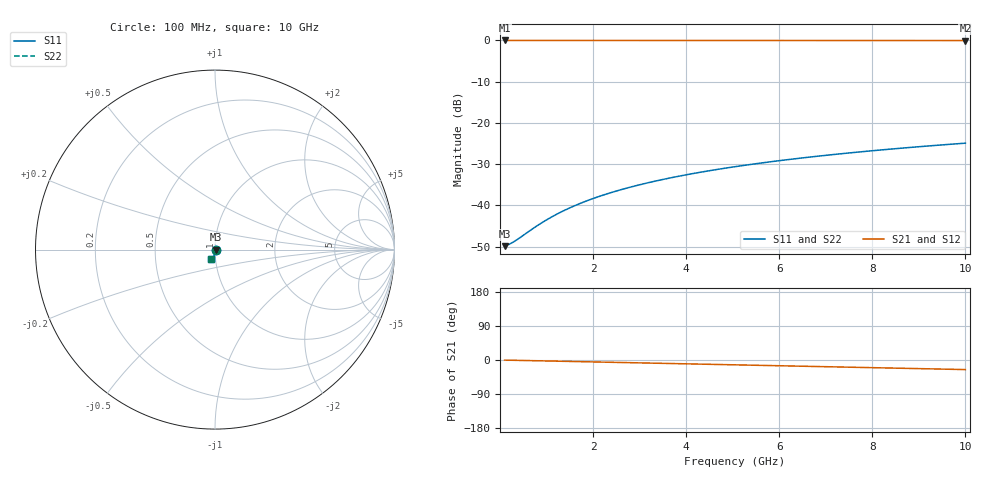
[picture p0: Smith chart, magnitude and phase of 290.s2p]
# Hz S RI R 50.00
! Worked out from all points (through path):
!   100 points, 100 MHz to 10 GHz, reference 50 ohm
!   highest |S21| = -0.03 dB at 100 MHz (marker M1); lowest = 0.0 dB at 10 GHz (marker M2)
!   group delay of S21, straight-line fit = 7.02 ps
!   lowest |S11| = -49.9 dB at 100 MHz (marker M3), VSWR 1.01, Z = 50.3 - j0.06 ohm
!   |S11| at or under -10 dB: start of sweep to end of sweep
!   |S22| runs from -49.9 to -24.9 dB; largest |S21 - S12| = 0
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1e8  0.00314 -0.000596  0.9968 -0.00439  0.9968 -0.00439  0.00314 -0.000596
2e8  0.00315 -0.00119  0.9968 -0.00879  0.9968 -0.00879  0.00315 -0.00119
3e8  0.00315 -0.00179  0.9967 -0.0132  0.9967 -0.0132  0.00315 -0.00179
8e8  0.00305 -0.00477  0.9961 -0.0351  0.9961 -0.0351  0.00305 -0.00477
9e8  0.00301 -0.00537  0.9959 -0.0395  0.9959 -0.0395  0.00301 -0.00537
1.1e9  0.00291 -0.00656  0.9955 -0.0483  0.9955 -0.0483  0.00291 -0.00656
1.4e9  0.00273 -0.00834  0.9948 -0.0615  0.9948 -0.0615  0.00273 -0.00834
1.6e9  0.00258 -0.00952  0.9942 -0.0702  0.9942 -0.0702  0.00258 -0.00952
1.8e9  0.00241 -0.0107  0.9935 -0.079  0.9935 -0.079  0.00241 -0.0107
2.1e9  0.00211 -0.0125  0.9923 -0.0921  0.9923 -0.0921  0.00211 -0.0125
2.5e9  0.00164 -0.0148  0.9905 -0.1096  0.9905 -0.1096  0.00164 -0.0148
2.9e9  0.00109 -0.0171  0.9883 -0.127  0.9883 -0.127  0.00109 -0.0171
3.4e9  0.00029 -0.02  0.9852 -0.1488  0.9852 -0.1488  0.00029 -0.02
3.8e9  -0.000444 -0.0223  0.9823 -0.1661  0.9823 -0.1661  -0.000444 -0.0223
4.2e9  -0.00126 -0.0245  0.9792 -0.1834  0.9792 -0.1834  -0.00126 -0.0245
4.6e9  -0.00215 -0.0268  0.9757 -0.2007  0.9757 -0.2007  -0.00215 -0.0268
5.1e9  -0.00337 -0.0295  0.9709 -0.2221  0.9709 -0.2221  -0.00337 -0.0295
5.9e9  -0.00558 -0.0337  0.9623 -0.2562  0.9623 -0.2562  -0.00558 -0.0337
6.7e9  -0.00807 -0.0378  0.9524 -0.2899  0.9524 -0.2899  -0.00807 -0.0378
7.5e9  -0.0109 -0.0417  0.9414 -0.3233  0.9414 -0.3233  -0.0109 -0.0417
8.4e9  -0.0143 -0.0459  0.9275 -0.3603  0.9275 -0.3603  -0.0143 -0.0459
1e10  -0.0212 -0.0526  0.8993 -0.4246  0.8993 -0.4246  -0.0212 -0.0526
